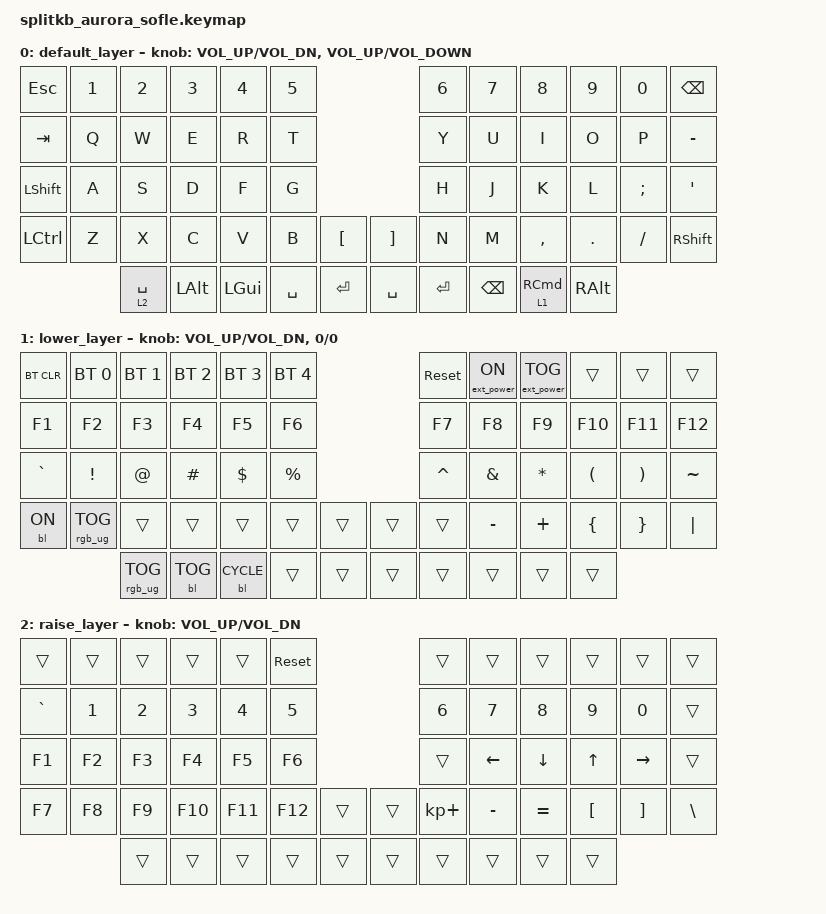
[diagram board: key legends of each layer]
/*
 * Copyright (c) 2023 The ZMK Contributors
 *
 * SPDX-License-Identifier: MIT
 */

#include <behaviors.dtsi>
#include <dt-bindings/zmk/backlight.h>
#include <dt-bindings/zmk/bt.h>
#include <dt-bindings/zmk/ext_power.h>
#include <dt-bindings/zmk/keys.h>
#include <dt-bindings/zmk/rgb.h>

&led_strip {
    chain-length = <6>;
    chain-length = <35>; // Uncomment if using both per-key and underglow LEDs
    //chain-length = <29>; // Uncomment if using only per-key LEDs.
};

/ {
    keymap {
        compatible = "zmk,keymap";

        default_layer {
            // ------------------------------------------------------------------------------------------------------------
            // |  ESC  |  1  |  2  |  3   |  4   |  5   |                   |  6   |  7    |  8    |  9   |   0   |   `   |
            // |  TAB  |  Q  |  W  |  E   |  R   |  T   |                   |  Y   |  U    |  I    |  O   |   P   |   -   |
            // |  CTRL |  A  |  S  |  D   |  F   |  G   |                   |  H   |  J    |  K    |  L   |   ;   |   '   |
            // | SHIFT |  Z  |  X  |  C   |  V   |  B   |   "["  |  |  "]"  |  N   |  M    |  ,    |  .   |   /   | SHIFT |
            //               |CTRL | ALT  | GUI  | LOWER|  SPACE |  | ENTER | RAISE| BSPC  | GUI   | RALT |

            bindings = <
&kp ESC           &kp N1  &kp N2       &kp N3    &kp N4    &kp N5                             &kp N6     &kp N7    &kp N8               &kp N9    &kp N0    &kp BACKSPACE
&kp TAB           &kp Q   &kp W        &kp E     &kp R     &kp T                              &kp Y      &kp U     &kp I                &kp O     &kp P     &kp MINUS
&kp LEFT_SHIFT    &kp A   &kp S        &kp D     &kp F     &kp G                              &kp H      &kp J     &kp K                &kp L     &kp SEMI  &kp SQT
&kp LEFT_CONTROL  &kp Z   &kp X        &kp C     &kp V     &kp B      &kp LBKT     &kp RBKT   &kp N      &kp M     &kp COMMA            &kp DOT   &kp FSLH  &kp RSHFT
                          &lt 2 SPACE  &kp LALT  &kp LGUI  &kp SPACE  &kp ENTER    &kp SPACE  &kp ENTER  &kp BSPC  &lt 1 RIGHT_COMMAND  &kp RALT
            >;

            sensor-bindings =
                <&inc_dec_kp C_VOL_UP C_VOL_DN>,
                <&inc_dec_kp C_VOLUME_UP C_VOLUME_DOWN>;
        };

        lower_layer {
            // ------------------------------------------------------------------------------------------------------------
            // | BTCLR | BT1 | BT2 |  BT3 |  BT4 |  BT5 |                   |      |       |       |      |       |       |
            // |  F1   |  F2 |  F3 |  F4  |  F5  |  F6  |                   |  F7  |  F8   |  F9   |  F10 |  F11  |  F12  |
            // |   `   |  !  |  @  |  #   |  $   |  %   |                   |  ^   |  &    |  *    |  (   |   )   |   ~   |
            // |       |     |     |      |      |      |        |  |       |      |  _    |  +    |  {   |   }   |  "|"  |
            //               |     |      |      |      |        |  |       |      |       |       |      |

            bindings = <
&bt BT_CLR  &bt BT_SEL 0     &bt BT_SEL 1     &bt BT_SEL 2  &bt BT_SEL 3  &bt BT_SEL 4                    &sys_reset  &ext_power EP_ON  &ext_power EP_TOG  &trans    &trans    &trans
&kp F1      &kp F2           &kp F3           &kp F4        &kp F5        &kp F6                          &kp F7      &kp F8            &kp F9             &kp F10   &kp F11   &kp F12
&kp GRAVE   &kp EXCL         &kp AT           &kp HASH      &kp DOLLAR    &kp PRCNT                       &kp CARET   &kp AMPS          &kp STAR           &kp LPAR  &kp RPAR  &kp TILDE
&bl BL_ON   &rgb_ug RGB_TOG  &trans           &trans        &trans        &trans        &trans    &trans  &trans      &kp MINUS         &kp PLUS           &kp LBRC  &kp RBRC  &kp PIPE
                             &rgb_ug RGB_TOG  &bl BL_TOG    &bl BL_CYCLE  &trans        &trans    &trans  &trans      &trans            &trans             &trans
            >;

            sensor-bindings =
                <&inc_dec_kp C_VOL_UP C_VOL_DN>,
                <&inc_dec_kp 0 0>;
        };

        raise_layer {
            // ------------------------------------------------------------------------------------------------------------
            // |       |     |     |      |      |      |                   |      |       |       |      |       |       |
            // |   `   |  1  |  2  |  3   |  4   |  5   |                   |  6   |   7   |   8   |  9   |   0   |       |
            // |   F1  |  F2 |  F3 |  F4  |  F5  |  F6  |                   |      |   <-  |   v   |  ^   |  ->   |       |
            // |   F7  |  F8 |  F9 |  F10 |  F11 |  F12 |        |  |       |  +   |   -   |   =   |  [   |   ]   |   \   |
            //               |     |      |      |      |        |  |       |      |       |       |      |

            bindings = <
&trans     &trans  &trans  &trans   &trans   &sys_reset                    &trans       &trans     &trans     &trans    &trans     &trans
&kp GRAVE  &kp N1  &kp N2  &kp N3   &kp N4   &kp N5                        &kp N6       &kp N7     &kp N8     &kp N9    &kp N0     &trans
&kp F1     &kp F2  &kp F3  &kp F4   &kp F5   &kp F6                        &trans       &kp LEFT   &kp DOWN   &kp UP    &kp RIGHT  &trans
&kp F7     &kp F8  &kp F9  &kp F10  &kp F11  &kp F12     &trans    &trans  &kp KP_PLUS  &kp MINUS  &kp EQUAL  &kp LBKT  &kp RBKT   &kp BSLH
                   &trans  &trans   &trans   &trans      &trans    &trans  &trans       &trans     &trans     &trans
            >;

            sensor-bindings = <&inc_dec_kp C_VOL_UP C_VOL_DN>;
        };
    };
};
